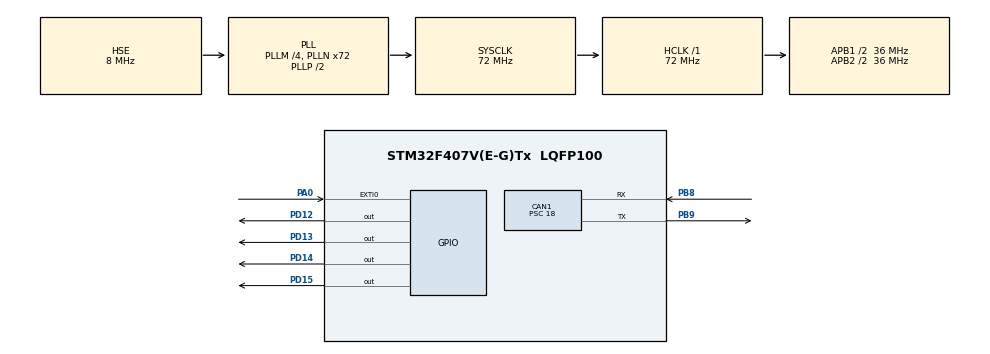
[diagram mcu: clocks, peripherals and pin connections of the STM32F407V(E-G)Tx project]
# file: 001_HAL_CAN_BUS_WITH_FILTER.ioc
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CAN1.BS1=CAN_BS1_2TQ
CAN1.CalculateBaudRate=500000
CAN1.CalculateTimeBit=2000
CAN1.CalculateTimeQuantum=500.0
CAN1.Prescaler=18
Mcu.Family=STM32F4
Mcu.Name=STM32F407V(E-G)Tx
Mcu.Package=LQFP100
NVIC.CAN1_RX0_IRQn=true\:0\:1\:false\:false\:true\:true\:true\:true
NVIC.EXTI0_IRQn=true\:0\:0\:false\:false\:true\:true\:true\:true
NVIC.PriorityGroup=NVIC_PRIORITYGROUP_0
PA0-WKUP.Signal=GPXTI0
PA13.Mode=Serial_Wire
PA13.Signal=SYS_JTMS-SWDIO
PA14.Mode=Serial_Wire
PA14.Signal=SYS_JTCK-SWCLK
PB8.Mode=CAN_Activate
PB8.Signal=CAN1_RX
PB9.Mode=CAN_Activate
PB9.Signal=CAN1_TX
PD12.Signal=GPIO_Output
PD13.Signal=GPIO_Output
PD14.Signal=GPIO_Output
PD15.Signal=GPIO_Output
PH0-OSC_IN.Mode=HSE-External-Oscillator
PH0-OSC_IN.Signal=RCC_OSC_IN
PH1-OSC_OUT.Mode=HSE-External-Oscillator
PH1-OSC_OUT.Signal=RCC_OSC_OUT
ProjectManager.HeapSize=0x200
ProjectManager.StackSize=0x400
ProjectManager.TargetToolchain=STM32CubeIDE
RCC.48MHZClocksFreq_Value=20571428.57142857
RCC.AHBFreq_Value=72000000
RCC.APB1CLKDivider=RCC_HCLK_DIV2
RCC.APB1Freq_Value=36000000
RCC.APB1TimFreq_Value=72000000
RCC.APB2CLKDivider=RCC_HCLK_DIV2
RCC.APB2Freq_Value=36000000
RCC.APB2TimFreq_Value=72000000
RCC.CortexFreq_Value=72000000
RCC.HCLKFreq_Value=72000000
RCC.HSE_VALUE=8000000
RCC.HSI_VALUE=16000000
RCC.LSE_VALUE=32768
RCC.PLLM=4
RCC.PLLN=72
RCC.PLLQ=7
RCC.PLLSourceVirtual=RCC_PLLSOURCE_HSE
RCC.SYSCLKFreq_VALUE=72000000
RCC.SYSCLKSource=RCC_SYSCLKSOURCE_PLLCLK
RCC.VCOOutputFreq_Value=144000000
board=STM32F407G-DISC1

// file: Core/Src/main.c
/* USER CODE BEGIN Header */
/**
  ******************************************************************************
  * @file           : main.c
  * @brief          : Main program body
  ******************************************************************************
  * @attention
  *
  * Copyright (c) 2024 STMicroelectronics.
  * All rights reserved.
  *
  * This software is licensed under terms that can be found in the LICENSE file
  * in the root directory of this software component.
  * If no LICENSE file comes with this software, it is provided AS-IS.
  *
  ******************************************************************************
  */
/* USER CODE END Header */
#include "main.h"

CAN_HandleTypeDef hcan1;

/* USER CODE BEGIN PV */
CAN_TxHeaderTypeDef pTxHeader;
CAN_RxHeaderTypeDef pRxHeader;

CAN_FilterTypeDef sFilterConfig;

uint8_t count;
uint8_t rCount;
uint32_t pTxMailbox;

/* USER CODE END PV */

void SystemClock_Config(void);
static void MX_GPIO_Init(void);
static void MX_CAN1_Init(void);

int main(void)
{

  /* MCU Configuration--------------------------------------------------------*/

  /* Reset of all peripherals, Initializes the Flash interface and the Systick. */
  HAL_Init();

  /* Configure the system clock */
  SystemClock_Config();

  /* Initialize all configured peripherals */
  MX_GPIO_Init();
  MX_CAN1_Init();
  /* USER CODE BEGIN 2 */

    // Start CAN Communication
  HAL_CAN_Start(&hcan1);

    // Enable Interrupt
  HAL_CAN_ActivateNotification(&hcan1, CAN_IT_RX_FIFO0_MSG_PENDING);

    // Set Transmit Parameters
  pTxHeader.DLC = 1;
  pTxHeader.IDE = CAN_ID_STD;
  pTxHeader.RTR = CAN_RTR_DATA;
  pTxHeader.StdId = 0x0156;

    // Set Filter Parameters Messages in the range 0x0150 to 0x015F are received
  sFilterConfig.FilterActivation = ENABLE;
  sFilterConfig.FilterBank = 0;
  sFilterConfig.FilterFIFOAssignment = CAN_FILTER_FIFO0;
  sFilterConfig.FilterIdHigh = 0x0150 << 5;
  sFilterConfig.FilterIdLow = 0x0000;
  sFilterConfig.FilterMaskIdHigh = 0xFFF0 << 5;
  sFilterConfig.FilterMaskIdLow = 0x0000;
  sFilterConfig.FilterMode = CAN_FILTERMODE_IDMASK;
  sFilterConfig.FilterScale = CAN_FILTERSCALE_32BIT;

  HAL_CAN_ConfigFilter(&hcan1, &sFilterConfig);

  /* USER CODE END 2 */

  /* Infinite loop */
  while (1)
  {

  }
}

void SystemClock_Config(void)
{
  RCC_OscInitTypeDef RCC_OscInitStruct = {0};
  RCC_ClkInitTypeDef RCC_ClkInitStruct = {0};

  /** Configure the main internal regulator output voltage
  */
  __HAL_RCC_PWR_CLK_ENABLE();
  __HAL_PWR_VOLTAGESCALING_CONFIG(PWR_REGULATOR_VOLTAGE_SCALE1);

  /** Initializes the RCC Oscillators according to the specified parameters
  * in the RCC_OscInitTypeDef structure.
  */
  RCC_OscInitStruct.OscillatorType = RCC_OSCILLATORTYPE_HSE;
  RCC_OscInitStruct.HSEState = RCC_HSE_ON;
  RCC_OscInitStruct.PLL.PLLState = RCC_PLL_ON;
  RCC_OscInitStruct.PLL.PLLSource = RCC_PLLSOURCE_HSE;
  RCC_OscInitStruct.PLL.PLLM = 4;
  RCC_OscInitStruct.PLL.PLLN = 72;
  RCC_OscInitStruct.PLL.PLLP = RCC_PLLP_DIV2;
  RCC_OscInitStruct.PLL.PLLQ = 7;
  if (HAL_RCC_OscConfig(&RCC_OscInitStruct) != HAL_OK)
  {
    Error_Handler();
  }

  /** Initializes the CPU, AHB and APB buses clocks
  */
  RCC_ClkInitStruct.ClockType = RCC_CLOCKTYPE_HCLK|RCC_CLOCKTYPE_SYSCLK
                              |RCC_CLOCKTYPE_PCLK1|RCC_CLOCKTYPE_PCLK2;
  RCC_ClkInitStruct.SYSCLKSource = RCC_SYSCLKSOURCE_PLLCLK;
  RCC_ClkInitStruct.AHBCLKDivider = RCC_SYSCLK_DIV1;
  RCC_ClkInitStruct.APB1CLKDivider = RCC_HCLK_DIV2;
  RCC_ClkInitStruct.APB2CLKDivider = RCC_HCLK_DIV2;

  if (HAL_RCC_ClockConfig(&RCC_ClkInitStruct, FLASH_LATENCY_2) != HAL_OK)
  {
    Error_Handler();
  }
}

static void MX_CAN1_Init(void)
{

  hcan1.Instance = CAN1;
  hcan1.Init.Prescaler = 18;
  hcan1.Init.Mode = CAN_MODE_NORMAL;
  hcan1.Init.SyncJumpWidth = CAN_SJW_1TQ;
  hcan1.Init.TimeSeg1 = CAN_BS1_2TQ;
  hcan1.Init.TimeSeg2 = CAN_BS2_1TQ;
  hcan1.Init.TimeTriggeredMode = DISABLE;
  hcan1.Init.AutoBusOff = DISABLE;
  hcan1.Init.AutoWakeUp = DISABLE;
  hcan1.Init.AutoRetransmission = DISABLE;
  hcan1.Init.ReceiveFifoLocked = DISABLE;
  hcan1.Init.TransmitFifoPriority = DISABLE;
  if (HAL_CAN_Init(&hcan1) != HAL_OK)
  {
    Error_Handler();
  }

}

static void MX_GPIO_Init(void)
{
  GPIO_InitTypeDef GPIO_InitStruct = {0};

  /* GPIO Ports Clock Enable */
  __HAL_RCC_GPIOH_CLK_ENABLE();
  __HAL_RCC_GPIOA_CLK_ENABLE();
  __HAL_RCC_GPIOD_CLK_ENABLE();
  __HAL_RCC_GPIOB_CLK_ENABLE();

  /*Configure GPIO pin Output Level */
  HAL_GPIO_WritePin(GPIOD, GPIO_PIN_12|GPIO_PIN_13|GPIO_PIN_14|GPIO_PIN_15, GPIO_PIN_RESET);

  /*Configure GPIO pin : PA0 */
  GPIO_InitStruct.Pin = GPIO_PIN_0;
  GPIO_InitStruct.Mode = GPIO_MODE_IT_RISING;
  GPIO_InitStruct.Pull = GPIO_NOPULL;
  HAL_GPIO_Init(GPIOA, &GPIO_InitStruct);

  /*Configure GPIO pins : PD12 PD13 PD14 PD15 */
  GPIO_InitStruct.Pin = GPIO_PIN_12|GPIO_PIN_13|GPIO_PIN_14|GPIO_PIN_15;
  GPIO_InitStruct.Mode = GPIO_MODE_OUTPUT_PP;
  GPIO_InitStruct.Pull = GPIO_NOPULL;
  GPIO_InitStruct.Speed = GPIO_SPEED_FREQ_LOW;
  HAL_GPIO_Init(GPIOD, &GPIO_InitStruct);

  /* EXTI interrupt init*/
  HAL_NVIC_SetPriority(EXTI0_IRQn, 0, 0);
  HAL_NVIC_EnableIRQ(EXTI0_IRQn);

}

void Error_Handler(void)
{
  __disable_irq();
  while (1)
  {
  }
}
